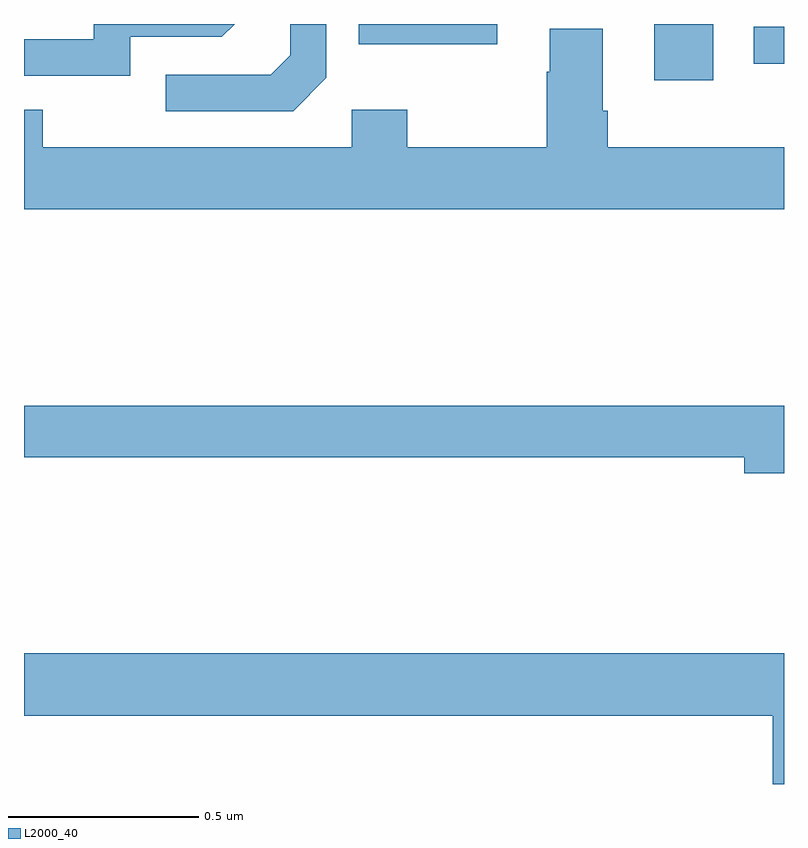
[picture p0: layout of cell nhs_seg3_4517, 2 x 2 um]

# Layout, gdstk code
import gdstk
lib = gdstk.Library(unit=1e-6, precision=1e-09)
def R(c, l, rs):  # rectangles x0, y0, x1, y1
    for r in rs: c.add(gdstk.rectangle(r[:2], r[2:], *l))
def P(c, l, *ps):  # polygons
    for p in ps: c.add(gdstk.Polygon(p, *l))
L2000_40 = (2000, 40)

nhs_seg3_4517 = lib.new_cell('nhs_seg3_4517')
R(nhs_seg3_4517, L2000_40, [(168.659,705.252,168.814,705.4), (168.921,705.295,169,705.393), (167.881,705.347,168.246,705.4)])
P(nhs_seg3_4517, L2000_40, [(167.796,705.258),(167.796,705.4),(167.7,705.4),(167.7,705.318),(167.649,705.267),(167.373,705.267),(167.373,705.171),(167.709,705.171)],
  [(167.28,705.366),(167.52,705.366),(167.554,705.4),(167.184,705.4),(167.184,705.36),(167,705.36),(167,705.264),(167.28,705.264)],
  [(169,705.076),(168.536,705.076),(168.536,705.172),(168.523,705.172),(168.523,705.388),(168.383,705.388),(168.383,705.275),(168.376,705.275),(168.376,705.076),(168.009,705.076),(168.009,705.175),(167.862,705.175),(167.862,705.076),(167.049,705.076),(167.049,705.175),(167,705.175),(167,704.912),(169,704.912)],
  [(169,704.396),(167,704.396),(167,704.26),(168.896,704.26),(168.896,704.218),(169,704.218)],
  [(169,703.744),(167,703.744),(167,703.58),(168.971,703.58),(168.971,703.4),(169,703.4)])

lib.write_gds('nhs_seg3_4517.gds')
